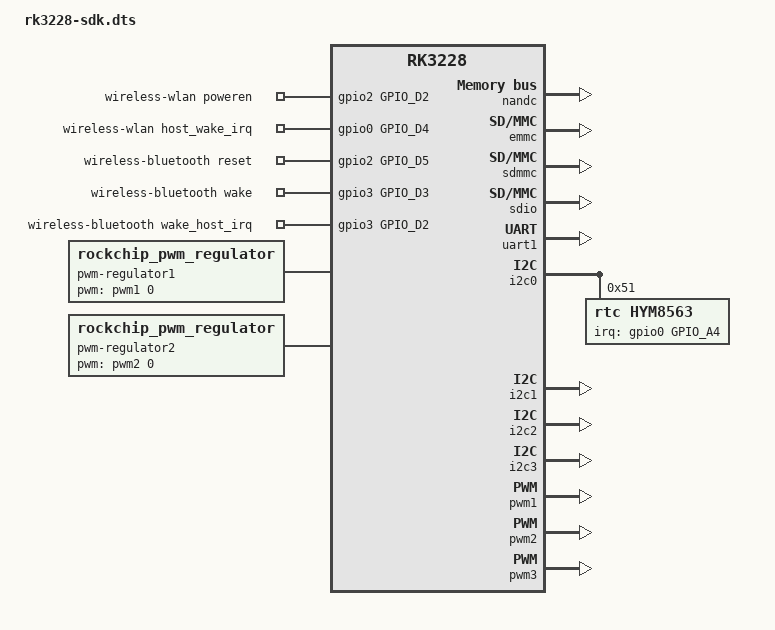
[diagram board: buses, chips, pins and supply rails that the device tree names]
/dts-v1/;

#include "rk3228.dtsi"
#include <dt-bindings/input/input.h>

/ {
	chosen {
		bootargs = "vmalloc=496M psci=enable";
	};

	fiq-debugger {
		status = "disabled";
	};

	wireless-wlan {
		compatible = "wlan-platdata";
		/* wifi_chip_type - wifi chip define
		* bcmwifi ==> like ap6xxx, rk90x;
		* rtkwifi ==> like rtl8188xx, rtl8723xx,rtl8812auv;
		* esp8089 ==> esp8089;
		* other   ==> for other wifi;
		*/
		wifi_chip_type = "bcmwifi";
		sdio_vref = <1800>; //1800mv or 3300mv
		//keep_wifi_power_on;
		//power_ctrl_by_pmu;
		power_pmu_regulator = "act_ldo3";
		power_pmu_enable_level = <1>; //1->HIGH, 0->LOW
		//vref_ctrl_enable;
		//vref_ctrl_gpio = <&gpio0 GPIO_A2 GPIO_ACTIVE_HIGH>;
		vref_pmu_regulator = "act_ldo3";
		vref_pmu_enable_level = <1>; //1->HIGH, 0->LOW
		WIFI,poweren_gpio = <&gpio2 GPIO_D2 GPIO_ACTIVE_HIGH>;
		WIFI,host_wake_irq = <&gpio0 GPIO_D4 GPIO_ACTIVE_HIGH>;
		//WIFI,reset_gpio = <&gpio0 GPIO_A2 GPIO_ACTIVE_LOW>;
		status = "okay";
	};

	wireless-bluetooth {
		compatible = "bluetooth-platdata";
		//wifi-bt-power-toggle;
		//uart_rts_gpios = <&gpio2 GPIO_D5 GPIO_ACTIVE_LOW>;
		//pinctrl-names = "default","rts_gpio";
		//pinctrl-0 = <&uart1_rts>;
		//pinctrl-1 = <&uart1_rts_gpio>;
		//BT,power_gpio = <&gpio4 GPIO_D3 GPIO_ACTIVE_HIGH>;
		BT,reset_gpio = <&gpio2 GPIO_D5 GPIO_ACTIVE_HIGH>;
		BT,wake_gpio = <&gpio3 GPIO_D3 GPIO_ACTIVE_HIGH>;
		BT,wake_host_irq = <&gpio3 GPIO_D2 GPIO_ACTIVE_HIGH>;
		status = "okay";
	};

	pwm-regulator1  {
		compatible = "rockchip_pwm_regulator";
		pwms = <&pwm1 0 2000>;
		rockchip,pwm_id= <1>;
		rockchip,pwm_voltage_map= <950000 975000 1000000 1025000 1050000 1075000 1100000 1125000 1150000 1175000 1200000 1225000 1250000 1275000 1300000 1325000 1350000 1375000 1400000>;
		rockchip,pwm_voltage= <1100000>;
		rockchip,pwm_min_voltage= <950000>;
		rockchip,pwm_max_voltage= <1450000>;
		rockchip,pwm_suspend_voltage= <950000>;
		rockchip,pwm_coefficient= <475>;
		status = "okay";
		regulators {
			#address-cells = <1>;
			#size-cells = <0>;
			pwm_reg0: regulator@0 {
				regulator-compatible = "pwm_dcdc1";
				regulator-name= "vdd_arm";
				regulator-min-microvolt = <950000>;
				regulator-max-microvolt = <1450000>;
				regulator-always-on;
				regulator-boot-on;
			};
		};
	};

	pwm-regulator2 {
		compatible = "rockchip_pwm_regulator";
		pwms = <&pwm2 0 25000>;
		rockchip,pwm_id= <2>;
		rockchip,pwm_voltage_map= <1000000 1025000 1050000 1075000 1100000 1125000 1150000 1175000 1200000 1225000 1250000 1275000 1300000>;
		rockchip,pwm_voltage= <1200000>;
		rockchip,pwm_min_voltage= <1000000>;
		rockchip,pwm_max_voltage= <1300000>;
		rockchip,pwm_suspend_voltage= <1250000>;
		rockchip,pwm_coefficient= <475>;
		status = "okay";
		regulators {
			#address-cells = <1>;
			#size-cells = <0>;
			pwm_reg1: regulator@1 {
				regulator-compatible = "pwm_dcdc2";
				regulator-name= "vdd_logic";
				regulator-min-microvolt = <1000000>;
				regulator-max-microvolt = <1300000>;
				regulator-always-on;
				regulator-boot-on;
			};
		};
	};
};

&nandc {
	status = "okay"; //used nand set "okay" ,used emmc set "disabled"
};

&emmc {
	clock-frequency = <50000000>;
	clock-freq-min-max = <400000 50000000>;
	supports-highspeed;
	supports-emmc;
	bootpart-no-access;
	supports-DDR_MODE;
	ignore-pm-notify;
	keep-power-in-suspend;
	status = "okay";
};

&sdmmc {
	clock-frequency = <37500000>;
	clock-freq-min-max = <400000 37500000>;
	supports-highspeed;
	supports-sd;
	broken-cd;
	card-detect-delay = <200>;
	ignore-pm-notify;
	keep-power-in-suspend;
	status = "okay";
};

&sdio {
	clock-frequency = <37500000>;
	clock-freq-min-max = <200000 37500000>;
	supports-highspeed;
	supports-sdio;
	ignore-pm-notify;
	keep-power-in-suspend;
	cap-sdio-irq;
	status = "okay";
};

&uart1{
	status = "okay";
	dma-names = "!tx", "!rx";
	//pinctrl-0 = <&uart1_xfer &uart1_cts>;
};

&i2c0 {
	status = "okay";
	rtc@51 {
		compatible = "rtc,hym8563";
		reg = <0x51>;
		irq_gpio = <&gpio0 GPIO_A4 IRQ_TYPE_EDGE_FALLING>;
	};
};

&i2c1 {
	status = "okay";
};

&i2c2 {
	status = "okay";
};

&i2c3 {
	status = "okay";
};

&pwm1 {
	status = "okay";
};

&pwm2 {
	status = "okay";
};

/*
 * Due to not have the software of PWM for remotectrl.
 * We can _*HACK*_ do that as the following.
 */
&pwm3 {
	compatible = "rockchip,remotectl-pwm";
	remote_pwm_id = <3>;
	handle_cpu_id = <1>;
	status = "okay";

	ir_key1{
		rockchip,usercode = <0x4040>;
		rockchip,key_table =
			<0xf2	KEY_REPLY>,
			<0xba	KEY_BACK>,
			<0xf4	KEY_UP>,
			<0xf1	KEY_DOWN>,
			<0xef	KEY_LEFT>,
			<0xee	KEY_RIGHT>,
			<0xbd	KEY_HOME>,
			<0xea	KEY_VOLUMEUP>,
			<0xe3	KEY_VOLUMEDOWN>,
			<0xe2	KEY_SEARCH>,
			<0xb2	KEY_POWER>,
			<0xbc	KEY_MUTE>,
			<0xec	KEY_MENU>,
			<0xbf	0x190>,
			<0xe0	0x191>,
			<0xe1	0x192>,
			<0xe9	183>,
			<0xe6	248>,
			<0xe8	185>,
			<0xe7	186>,
			<0xf0	388>,
			<0xbe	0x175>;
	};
	ir_key2{
		rockchip,usercode = <0xff00>;
		rockchip,key_table =
			<0xf9	KEY_HOME>,
			<0xbf	KEY_BACK>,
			<0xfb	KEY_MENU>,
			<0xaa	KEY_REPLY>,
			<0xb9	KEY_UP>,
			<0xe9	KEY_DOWN>,
			<0xb8	KEY_LEFT>,
			<0xea	KEY_RIGHT>,
			<0xeb	KEY_VOLUMEDOWN>,
			<0xef	KEY_VOLUMEUP>,
			<0xf7	KEY_MUTE>,
			<0xe7	KEY_POWER>,
			<0xfc	KEY_POWER>,
			<0xa9	KEY_VOLUMEDOWN>,
			<0xa8	KEY_VOLUMEDOWN>,
			<0xe0	KEY_VOLUMEDOWN>,
			<0xa5	KEY_VOLUMEDOWN>,
			<0xab	183>,
			<0xb7	388>,
			<0xf8	184>,
			<0xaf	185>,
			<0xed	KEY_VOLUMEDOWN>,
			<0xee	186>,
			<0xb3	KEY_VOLUMEDOWN>,
			<0xf1	KEY_VOLUMEDOWN>,
			<0xf2	KEY_VOLUMEDOWN>,
			<0xf3	KEY_SEARCH>,
			<0xb4	KEY_VOLUMEDOWN>,
			<0xbe	KEY_SEARCH>;
	};
	ir_key3{
		rockchip,usercode = <0x1dcc>;
		rockchip,key_table =
			<0xee	KEY_REPLY>,
			<0xf0	KEY_BACK>,
			<0xf8	KEY_UP>,
			<0xbb	KEY_DOWN>,
			<0xef	KEY_LEFT>,
			<0xed	KEY_RIGHT>,
			<0xfc	KEY_HOME>,
			<0xf1	KEY_VOLUMEUP>,
			<0xfd	KEY_VOLUMEDOWN>,
			<0xb7	KEY_SEARCH>,
			<0xff	KEY_POWER>,
			<0xf3	KEY_MUTE>,
			<0xbf	KEY_MENU>,
			<0xf9	0x191>,
			<0xf5	0x192>,
			<0xb3	388>,
			<0xbe	KEY_1>,
			<0xba	KEY_2>,
			<0xb2	KEY_3>,
			<0xbd	KEY_4>,
			<0xf9	KEY_5>,
			<0xb1	KEY_6>,
			<0xfc	KEY_7>,
			<0xf8	KEY_8>,
			<0xb0	KEY_9>,
			<0xb6	KEY_0>,
			<0xb5	KEY_BACKSPACE>;
	};
};
